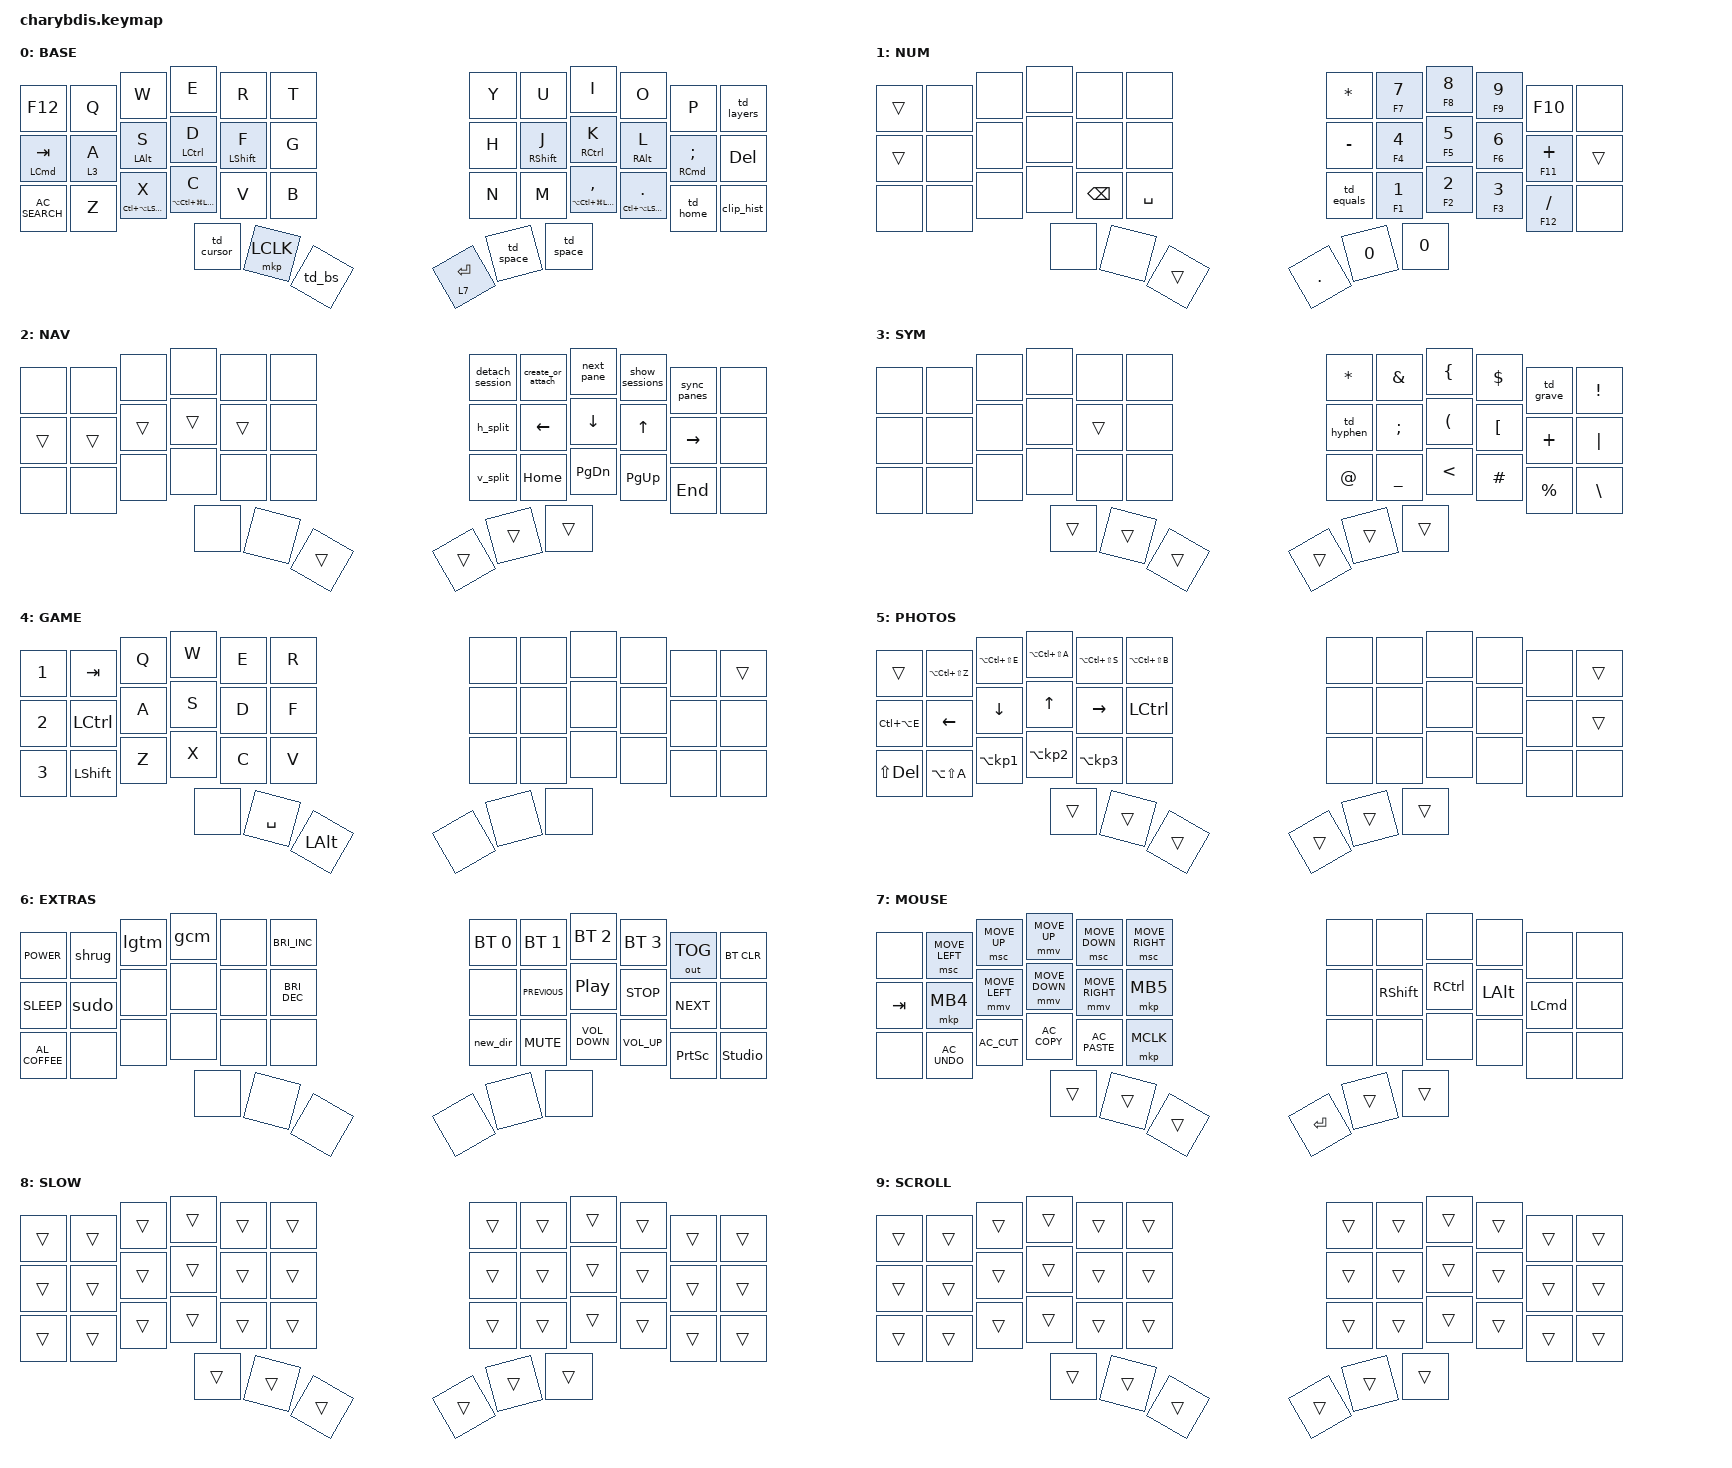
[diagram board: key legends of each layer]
#include <behaviors.dtsi>
#include <dt-bindings/zmk/bt.h>
#include <dt-bindings/zmk/keys.h>
#include <dt-bindings/zmk/mouse.h>
#include <dt-bindings/zmk/outputs.h>
#include <behaviors/mouse_keys.dtsi>
#include <dt-bindings/zmk/ext_power.h>
#include "macros.dtsi"
#include "behaviors.dtsi"
#include "combos.dtsi"

/ {
    /* input config for mouse move mode */
    trackball_listener {
        compatible = "zmk,input-behavior-listener";
        device = <&vtrackball>;
        layers = <0 2 7>;
        evt-type = <INPUT_EV_REL>;
        x-input-code = <INPUT_REL_X>;
        y-input-code = <INPUT_REL_Y>;
        scale-multiplier = <4>;
        scale-divisor = <5>;
        // bindings = <&ib_toggle_layer 7>;
    };

    /* input config for snipe mode */
    trackball_snipe_listener {
        compatible = "zmk,input-behavior-listener";   
        device = <&vtrackball>;
        layers = <8>;
        evt-type = <INPUT_EV_REL>;
        x-input-code = <INPUT_REL_X>;
        y-input-code = <INPUT_REL_Y>;
        scale-multiplier = <1>;
        scale-divisor = <6>;
    };

    /* input config for mouse scroll mode */
    trackball_scroll_listener {
        compatible = "zmk,input-behavior-listener";
        device = <&vtrackball>;
        layers = <9>;
        evt-type = <INPUT_EV_REL>;            
        x-input-code = <INPUT_REL_MISC>;
        y-input-code = <INPUT_REL_WHEEL>;
        y-invert;
        bindings = <&ib_wheel_scaler 1 14>;
    };

    /* define a resolution down scaler only for INPUT_REL_WHEEL */
    ib_wheel_scaler: ib_wheel_scaler {
        compatible = "zmk,input-behavior-scaler";
        #binding-cells = <2>;
        evt-type = <INPUT_EV_REL>;
        input-code = <INPUT_REL_WHEEL>;
    };

    /* adjust cooldown waiting period for mouse key layer after activated */
    ib_toggle_layer: ib_toggle_layer {
        compatible = "zmk,input-behavior-tog-layer";
        #binding-cells = <1>;
        time-to-live-ms = <750>;
    };
// ╭──────┬──────┬──────┬──────┬──────┬──────╮  ╭──────┬──────┬──────┬──────┬──────┬──────╮
//    00     01     02     03    04      05        06     07     08     09     10     11
// ├──────┼──────┼──────┼──────┼──────┼──────┤  ├──────┼──────┼──────┼──────┼──────┼──────┤
//    12     13     14     15    16      17        18     19     20     21     22     23
// ├──────┼──────┼──────┼──────┼──────┼──────┤  ├──────┼──────┼──────┼──────┼──────┼──────┤
//    24     25     26     27    28      29        30     31     32     33     34     35
// ╰──────┴──────┴──────┼──────┼──────┼──────┤  ├──────┼──────┼──────┴──────┴──────┴──────╯
//                         36     37     38        39     40     41
//                      ╰──────┴──────┴──────╯  ╰──────┴──────┴──────╯
// #define BASE    0
// #define NUM     1
// #define NAV     2
// #define SYM     3
// #define GAME    4
// #define PHOTOS  5
// #define EXTRAS  6
// #define MOUSE   7
// #define SLOW    8
// #define SCROLL  9

    keymap {
        compatible = "zmk,keymap";
        BASE {
            bindings = <
// ╭────────────────┬──────────────┬─────────────────────────────┬──────────────────────────────────┬──────────────────────┬────────╮  ╭────────────────┬─────────────────────────┬──────────────────────────────────────┬────────────────────────────────────┬────────────────────────┬──────────────╮
    &kp F12            &kp Q        &kp W                          &kp E                              &kp R                  &kp T       &kp Y             &kp U                   &kp I                                   &kp O                                &kp P                    &td_layers
// ├────────────────┼──────────────┼─────────────────────────────┼──────────────────────────────────┼──────────────────────┼────────┤  ├────────────────┼─────────────────────────┼──────────────────────────────────────┼────────────────────────────────────┼────────────────────────┼──────────────┤
    &hm_a LCMD TAB     &lt 3 A      &hm_r LEFT_ALT S               &hm_s LCTRL D                      &hm_t LEFT_SHIFT F     &kp G       &kp H             &hm_n RIGHT_SHIFT J     &hm_e RCTRL K                           &hm_i RIGHT_ALT L                    &hm_o RCMD SEMICOLON     &kp DEL
// ├────────────────┼──────────────┼─────────────────────────────┼──────────────────────────────────┼──────────────────────┼────────┤  ├────────────────┼─────────────────────────┼──────────────────────────────────────┼────────────────────────────────────┼────────────────────────┼──────────────┤
    &kp C_AC_SEARCH    &kp Z        &hm LC(LA(LEFT_SHIFT)) X       &hm LA(LC(LG(LEFT_SHIFT))) C  &kp V                       &kp B       &kp N             &kp M                   &hm LA(LC(LG(LEFT_SHIFT))) COMMA        &hm LC(LA(LEFT_SHIFT)) PERIOD        &td_home                 &clip_hist
// ╰────────────────┴──────────────┴─────────────────────────────┼──────────────────────────────────┼──────────────────────┼────────┤  ├────────────────┼─────────────────────────┼──────────────────────────────────────┴────────────────────────────────────┴────────────────────────┴──────────────╯
                                                                               &td_cursor    &mkp LCLK          &td_bs                   &lt 7 RETURN      &td_space      &td_space
                                                                          // ╰─────────────┴──────────────────┴────────╯               ╰────────────────┴──────────────┴──────────────╯
            >;
        };

        NUM {
            bindings = <
&trans   &none  &none  &none  &none          &none        &kp ASTRK  &hm F7 N7  &hm F8 N8  &hm F9 N9  &kp F10        &none
&trans   &none  &none  &none  &none          &none        &kp MINUS  &hm F4 N4  &hm F5 N5  &hm F6 N6  &hm F11 PLUS   &trans
&none    &none  &none  &none  &kp BACKSPACE  &kp SPACE    &td_equals &hm F1 N1  &hm F2 N2  &hm F3 N3  &hm F12 SLASH  &none
                       &none  &none          &trans       &kp DOT    &kp N0    &kp N0
            >;
        };

        NAV {
            bindings = <
&none   &none   &none   &none   &none   &none     &detach_session  &create_or_attach  &next_pane   &show_sessions  &sync_panes       &none
&trans  &trans  &trans  &trans  &trans  &none     &h_split         &kp LEFT_ARROW     &kp DOWN     &kp UP          &kp RIGHT_ARROW   &none
&none   &none   &none   &none   &none   &none     &v_split         &kp HOME           &kp PG_DN    &kp PG_UP       &kp END           &none
                        &none   &none   &trans    &trans   &trans   &trans
            >;
        };

        SYM {
            bindings = <
&none  &none  &none  &none  &none   &none      &kp ASTRK   &kp AMPS       &kp LEFT_BRACE &kp DLLR &td_grave &kp EXCL
&none  &none  &none  &none  &trans  &none      &td_hyphen  &kp SEMICOLON  &kp LPAR       &kp LBKT &kp PLUS  &kp PIPE
&none  &none  &none  &none  &none   &none      &kp AT_SIGN &kp UNDERSCORE &kp LT         &kp HASH &kp PRCNT &kp BSLH
                   &trans  &trans  &trans      &trans      &trans         &trans
            >;
        };

        GAME {
            bindings = <
&kp N1  &kp TAB    &kp Q  &kp W   &kp E      &kp R           &none  &none  &none  &none  &none  &trans
&kp N2  &kp LCTRL  &kp A  &kp S   &kp D      &kp F           &none  &none  &none  &none  &none  &none
&kp N3  &kp LSHFT  &kp Z  &kp X   &kp C      &kp V           &none  &none  &none  &none  &none  &none
                          &none   &kp SPACE  &kp LEFT_ALT    &none  &none  &none
            >;
        };

        PHOTOS {
            bindings = <
&trans          &kp LA(LC(LS(Z)))  &kp LA(LC(LS(E)))  &kp LA(LC(LS(A)))  &kp LA(LC(LS(S)))  &kp LA(LC(LS(B)))    &none   &none   &none  &none  &none  &trans
&kp LC(LA(E))   &kp LEFT           &kp DOWN           &kp UP             &kp RIGHT          &kp LCTRL            &none   &none   &none  &none  &none  &trans
&kp LS(DELETE)  &kp LA(LS(A))      &kp LA(KP_N1)      &kp LA(KP_N2)      &kp LA(KP_N3)      &none                &none   &none   &none  &none  &none  &none
                                                      &trans             &trans             &trans               &trans  &trans  &trans
            >;
        };

        EXTRAS {
            bindings = <
&kp C_POWER       &shrug  &lgtm     &gcm      &none  &kp C_BRIGHTNESS_INC    &bt BT_SEL 0  &bt BT_SEL 1    &bt BT_SEL 2       &bt BT_SEL 3  &out OUT_TOG     &bt BT_CLR
&kp C_SLEEP       &sudo   &none     &none     &none  &kp C_BRIGHTNESS_DEC    &none         &kp C_PREVIOUS  &kp C_PLAY_PAUSE   &kp C_STOP    &kp C_NEXT       &none
&kp C_AL_COFFEE   &none   &none     &none     &none  &none                   &new_dir      &kp K_MUTE      &kp C_VOLUME_DOWN  &kp C_VOLUME_UP   &kp PRINTSCREEN  &studio_unlock
                                    &none     &none  &none                   &none         &none           &none
            >;
        };

        MOUSE {
            bindings = <
&none    &msc MOVE_LEFT  &msc MOVE_UP    &mmv MOVE_UP    &msc MOVE_DOWN   &msc MOVE_RIGHT    &none  &none            &none      &none         &none          &none
&kp TAB  &mkp MB4        &mmv MOVE_LEFT  &mmv MOVE_DOWN  &mmv MOVE_RIGHT  &mkp MB5           &none  &kp RIGHT_SHIFT  &kp RCTRL  &kp LEFT_ALT  &kp LCMD  &none
&none    &kp C_AC_UNDO   &kp C_AC_CUT    &kp C_AC_COPY   &kp C_AC_PASTE   &mkp MCLK          &none  &none            &none      &none         &none          &none
                                         &trans          &trans           &trans             &kp RETURN              &trans     &trans
            >;
        };

        SLOW {
            bindings = <
&trans    &trans    &trans    &trans    &trans    &trans    &trans    &trans    &trans    &trans    &trans    &trans
&trans    &trans    &trans    &trans    &trans    &trans    &trans    &trans    &trans    &trans    &trans    &trans
&trans    &trans    &trans    &trans    &trans    &trans    &trans    &trans    &trans    &trans    &trans    &trans
                              &trans    &trans    &trans    &trans    &trans    &trans
            >;
        };

        SCROLL {
            bindings = <
&trans    &trans    &trans    &trans    &trans    &trans    &trans    &trans    &trans    &trans    &trans    &trans
&trans    &trans    &trans    &trans    &trans    &trans    &trans    &trans    &trans    &trans    &trans    &trans
&trans    &trans    &trans    &trans    &trans    &trans    &trans    &trans    &trans    &trans    &trans    &trans
                              &trans    &trans    &trans    &trans    &trans    &trans
            >;
        };
    };
};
